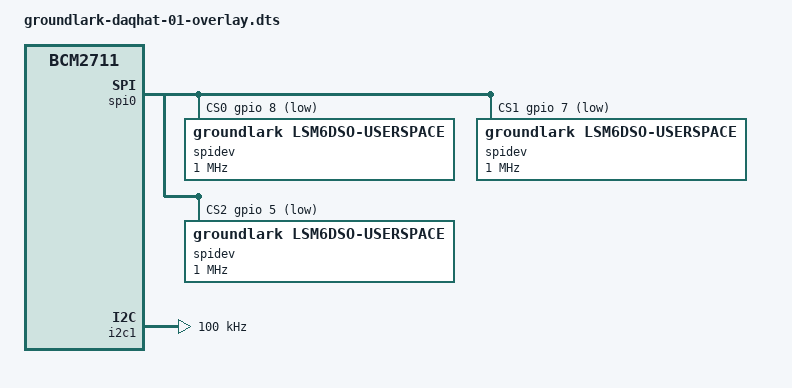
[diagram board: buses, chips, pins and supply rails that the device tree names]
/dts-v1/;
/plugin/;

/* Pi 4 / BCM2711: userspace acquisition owns these devices and GPIO events.
 * Do not combine with spi0-*cs, pps-gpio, w1-gpio or kernel IMU overlays.
 * No fabricated compatible string for an unrelated supported spidev device.
 * bind_spi.py explicitly selects spidev through Linux driver_override.
 */
/ {
    compatible = "brcm,bcm2711";
    fragment@0 {
        target = <&spi0_cs_pins>;
        __overlay__ {
            brcm,pins = <8 7 5>;
            brcm,function = <1>;
            brcm,pull = <2 2 2>;
        };
    };
    fragment@1 {
        target = <&spi0>;
        __overlay__ {
            #address-cells = <1>;
            #size-cells = <0>;
            status = "okay";
            num-cs = <3>;
            cs-gpios = <&gpio 8 1>, <&gpio 7 1>, <&gpio 5 1>;
            spidev@0 { compatible = "groundlark,lsm6dso-userspace"; reg = <0>; spi-max-frequency = <1000000>; status = "okay"; };
            spidev@1 { compatible = "groundlark,lsm6dso-userspace"; reg = <1>; spi-max-frequency = <1000000>; status = "okay"; };
            spidev@2 { compatible = "groundlark,lsm6dso-userspace"; reg = <2>; spi-max-frequency = <1000000>; status = "okay"; };
        };
    };
    fragment@2 {
        target = <&i2c1>;
        __overlay__ { status = "okay"; clock-frequency = <100000>; };
    };
};
